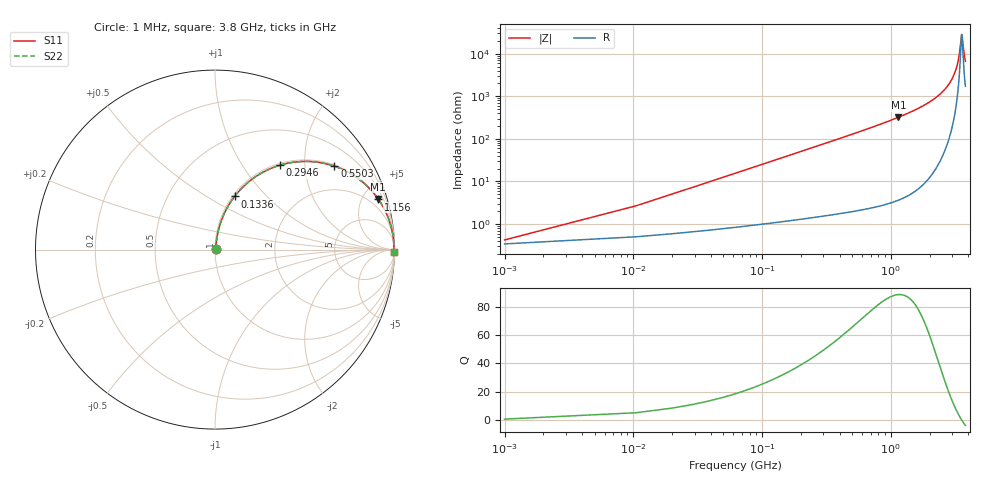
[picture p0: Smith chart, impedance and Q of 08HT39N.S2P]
! Coilcraft 0805HT-39N Chip Inductor
! 24 June 2002
# MHZ S MA R 50
!Freq  MagS11  AngS11  MagS21  AngS21  MagS12  AngS12  MagS22  AngS22
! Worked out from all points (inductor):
!   403 points, 1 MHz to 3.8 GHz, reference 50 ohm
!   read as one part in series: L = 40 nH near 19.94 MHz
!   highest Q = 88.5 at 1.147 GHz (marker M1), where L = 44.6 nH
!   self-resonance near 3.552 GHz
!   S11 on the Smith chart (normalised r, x): 1 MHz: 1.01, +0.01; 133.6 MHz: 1.02, +0.67; 294.6 MHz: 1.03, +1.49; 550.3 MHz: 1.04, +2.83; 1.156 GHz: 1.07, +6.50; 3.8 GHz: open
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1  0.00423 36.2  0.9966 -0.1  0.9966 -0.1  0.00423 36.2
29.41  0.07353 80.7  0.9908 -4.2  0.9908 -4.2  0.07353 80.7
38.88  0.09684 80.2  0.9882 -5.5  0.9882 -5.5  0.09684 80.2
57.82  0.1429 78.6  0.9817 -8.2  0.9817 -8.2  0.1429 78.6
76.76  0.1881 76.5  0.9734 -10.8  0.9734 -10.8  0.1881 76.5
133.58  0.3157 69.7  0.9385 -18.4  0.9385 -18.4  0.3157 69.7
199.87  0.4455 62.1  0.8839 -26.4  0.8839 -26.4  0.4455 62.1
294.57  0.592 52.5  0.7939 -36.3  0.7939 -36.3  0.592 52.5
550.26  0.8115 34.9  0.5727 -54.2  0.5727 -54.2  0.8115 34.9
635.49  0.8501 31.0  0.5152 -58.2  0.5152 -58.2  0.8501 31.0
1146.87  0.9519 17.2  0.2959 -72.1  0.2959 -72.1  0.9519 17.2
1156.34  0.9527 17.0  0.2932 -72.3  0.2932 -72.3  0.9527 17.0
1269.98  0.9618 15.2  0.263 -74.1  0.263 -74.1  0.9618 15.2
1904.47  0.9869 8.5  0.1472 -80.7  0.1472 -80.7  0.9869 8.5
2538.96  0.9946 4.4  0.0766 -83.8  0.0766 -83.8  0.9946 4.4
2908.29  0.9962 2.6  0.0454 -84.0  0.0454 -84.0  0.9962 2.6
3173.45  0.9967 1.5  0.02583 -81.8  0.02583 -81.8  0.9967 1.5
3372.32  0.9967 0.7  0.0125 -74.2  0.0125 -74.2  0.9967 0.7
3552.25  0.9965 0.0  0.003547 -7.9  0.003547 -7.9  0.9965 0.0
3580.66  0.9964 -0.1  0.00378 19.8  0.00378 19.8  0.9964 -0.1
3694.3  0.9962 -0.5  0.009041 65.2  0.009041 65.2  0.9962 -0.5
3800  0.996 -0.8  0.01503 74.2  0.01503 74.2  0.996 -0.8
